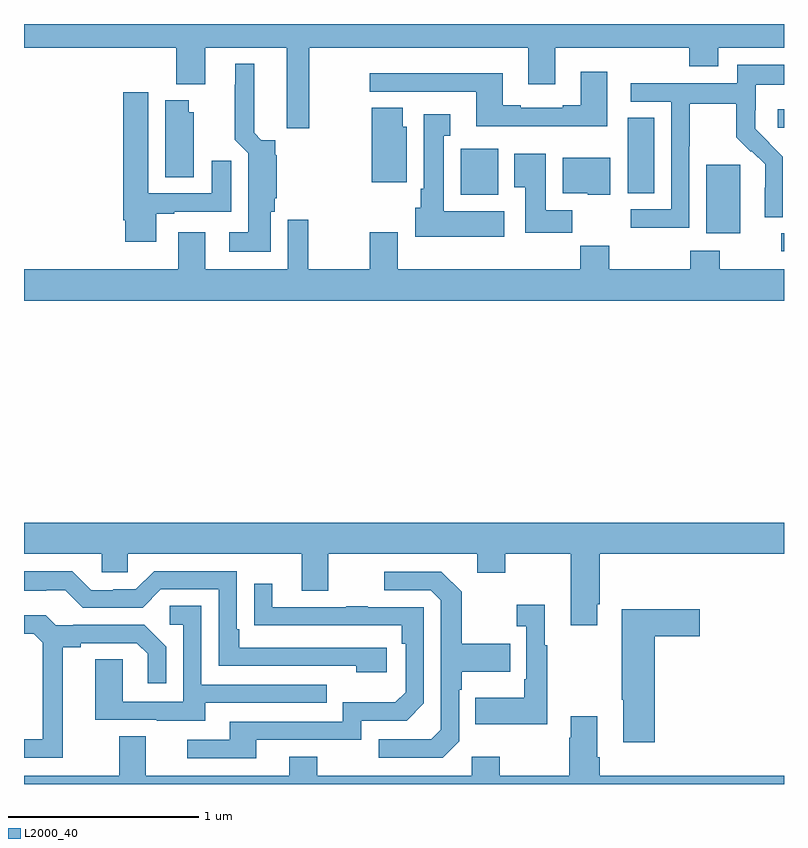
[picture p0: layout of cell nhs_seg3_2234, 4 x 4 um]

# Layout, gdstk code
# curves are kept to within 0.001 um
import gdstk
lib = gdstk.Library(unit=1e-6, precision=1e-09)
def R(c, l, rs):  # rectangles x0, y0, x1, y1
    for r in rs: c.add(gdstk.rectangle(r[:2], r[2:], *l))
def P(c, l, *ps):  # polygons
    for p in ps: c.add(gdstk.Polygon(p, *l))
L2000_40 = (2000, 40)

nhs_seg3_2234 = lib.new_cell('nhs_seg3_2234')
R(nhs_seg3_2234, L2000_40, [(230.985,673.203,231,673.299), (230.591,673.298,230.77,673.659), (229.298,673.502,229.495,673.744), (230.177,673.51,230.317,673.907), (230.967,673.854,231,673.951)])
P(nhs_seg3_2234, L2000_40, [(228.501,674.276),(229.655,674.276),(229.655,674.082),(229.795,674.082),(229.795,674.276),(230.501,674.276),(230.501,674.177),(230.653,674.177),(230.653,674.276),(231,674.276),(231,674.4),(227,674.4),(227,674.276),(227.801,674.276),(227.801,674.084),(227.953,674.084),(227.953,674.276),(228.383,674.276),(228.383,673.851),(228.501,673.851)],
  [(228.298,673.413),(228.32,673.413),(228.32,673.482),(228.329,673.482),(228.329,673.709),(228.323,673.715),(228.323,673.789),(228.249,673.789),(228.211,673.828),(228.211,674.191),(228.113,674.191),(228.113,674.081),(228.109,674.081),(228.109,673.79),(228.179,673.72),(228.179,673.303),(228.081,673.303),(228.081,673.202),(228.298,673.202)],
  [(230.502,673.756),(230.505,673.756),(230.505,673.98),(230.749,673.98),(230.749,673.805),(230.826,673.728),(230.829,673.731),(230.9,673.661),(230.9,673.538),(230.898,673.538),(230.898,673.384),(230.994,673.384),(230.994,673.702),(230.848,673.85),(230.848,673.947),(230.85,673.947),(230.85,674.081),(231,674.081),(231,674.185),(230.754,674.185),(230.754,674.088),(230.193,674.088),(230.193,673.992),(230.406,673.992),(230.406,673.425),(230.193,673.425),(230.193,673.327),(230.502,673.327)],
  [(230.071,674.149),(229.931,674.149),(229.931,673.972),(229.835,673.972),(229.835,673.959),(229.615,673.959),(229.615,673.972),(229.519,673.972),(229.519,674.14),(228.819,674.14),(228.819,674.043),(229.379,674.043),(229.379,673.862),(230.071,673.862)],
  [(227.695,673.401),(227.791,673.401),(227.791,673.413),(228.091,673.413),(228.091,673.681),(227.987,673.681),(227.987,673.509),(227.653,673.509),(227.653,674.041),(227.522,674.041),(227.522,673.366),(227.534,673.366),(227.534,673.254),(227.695,673.254)],
  [(227.893,673.935),(227.866,673.935),(227.866,673.999),(227.744,673.999),(227.744,673.594),(227.893,673.594)],
  [(229.015,673.86),(228.994,673.86),(228.994,673.958),(228.829,673.958),(228.829,673.568),(229.015,673.568)],
  [(229.528,673.414),(229.21,673.414),(229.21,673.811),(229.243,673.811),(229.243,673.924),(229.103,673.924),(229.103,673.534),(229.088,673.534),(229.088,673.434),(229.058,673.434),(229.058,673.28),(229.528,673.28)],
  [(229.886,673.42),(229.747,673.42),(229.747,673.717),(229.58,673.717),(229.58,673.541),(229.637,673.541),(229.637,673.302),(229.886,673.302)],
  [(230.086,673.696),(229.835,673.696),(229.835,673.508),(229.968,673.508),(229.968,673.502),(230.086,673.502)],
  [(231,673.108),(230.661,673.108),(230.661,673.207),(230.506,673.207),(230.506,673.108),(230.079,673.108),(230.079,673.232),(229.927,673.232),(229.927,673.108),(228.967,673.108),(228.967,673.303),(228.82,673.303),(228.82,673.108),(228.496,673.108),(228.496,673.369),(228.388,673.369),(228.388,673.108),(227.953,673.108),(227.953,673.303),(227.813,673.303),(227.813,673.108),(227,673.108),(227,672.944),(231,672.944)],
  [(230.017,671.347),(230.03,671.347),(230.03,671.612),(231,671.612),(231,671.776),(227,671.776),(227,671.612),(227.409,671.612),(227.409,671.514),(227.547,671.514),(227.547,671.612),(228.461,671.612),(228.461,671.418),(228.601,671.418),(228.601,671.612),(229.385,671.612),(229.385,671.513),(229.533,671.513),(229.533,671.612),(229.877,671.612),(229.877,671.235),(230.017,671.235)],
  [(228.91,671.118),(228.133,671.118),(228.133,671.215),(228.12,671.215),(228.12,671.52),(227.685,671.52),(227.589,671.424),(227.471,671.424),(227.471,671.421),(227.355,671.421),(227.255,671.521),(227,671.521),(227,671.417),(227.117,671.417),(227.117,671.421),(227.217,671.421),(227.31,671.328),(227.625,671.328),(227.721,671.424),(228.024,671.424),(228.024,671.022),(228.749,671.022),(228.749,670.988),(228.91,670.988)],
  [(229.29,670.626),(229.29,670.895),(229.303,670.895),(229.303,670.991),(229.559,670.991),(229.559,671.139),(229.303,671.139),(229.303,671.411),(229.197,671.517),(228.897,671.517),(228.897,671.421),(229.14,671.421),(229.194,671.367),(229.194,670.686),(229.143,670.635),(228.867,670.635),(228.867,670.539),(229.203,670.539)],
  [(228.223,670.632),(228.774,670.632),(228.774,670.734),(229.014,670.734),(229.104,670.824),(229.104,671.331),(228.809,671.331),(228.809,671.336),(228.697,671.336),(228.697,671.331),(228.307,671.331),(228.307,671.455),(228.211,671.455),(228.211,671.236),(228.988,671.235),(228.988,671.138),(229.008,671.138),(229.008,670.884),(228.955,670.831),(228.678,670.831),(228.678,670.728),(228.083,670.728),(228.083,670.632),(227.859,670.632),(227.859,670.536),(228.223,670.536)],
  [(229.753,671.131),(229.741,671.131),(229.741,671.344),(229.593,671.344),(229.593,671.231),(229.644,671.231),(229.644,670.951),(229.632,670.951),(229.632,670.855),(229.375,670.855),(229.375,670.715),(229.753,670.715)],
  [(227.953,670.827),(228.593,670.827),(228.593,670.923),(227.934,670.923),(227.934,671.339),(227.766,671.339),(227.766,671.238),(227.838,671.238),(227.838,670.833),(227.52,670.833),(227.52,671.057),(227.375,671.057),(227.375,670.737),(227.699,670.737),(227.699,670.733),(227.953,670.733)],
  [(230.321,671.177),(230.557,671.177),(230.557,671.319),(230.146,671.319),(230.146,670.843),(230.153,670.843),(230.153,670.62),(230.321,670.62)],
  [(227.203,671.12),(227.299,671.12),(227.299,671.142),(227.594,671.142),(227.651,671.085),(227.651,670.929),(227.748,670.929),(227.748,671.122),(227.632,671.238),(227.26,671.238),(227.26,671.235),(227.166,671.235),(227.114,671.287),(227,671.287),(227,671.19),(227.052,671.19),(227.099,671.143),(227.099,670.635),(227,670.635),(227,670.539),(227.203,670.539)],
  [(231,670.444),(230.03,670.444),(230.03,670.54),(230.017,670.54),(230.017,670.756),(229.877,670.756),(229.877,670.643),(229.87,670.643),(229.87,670.444),(229.503,670.444),(229.503,670.543),(229.356,670.543),(229.356,670.444),(228.543,670.444),(228.543,670.543),(228.395,670.543),(228.395,670.444),(227.641,670.444),(227.641,670.652),(227.501,670.652),(227.501,670.444),(227,670.444),(227,670.4),(231,670.4)])

lib.write_gds('nhs_seg3_2234.gds')
